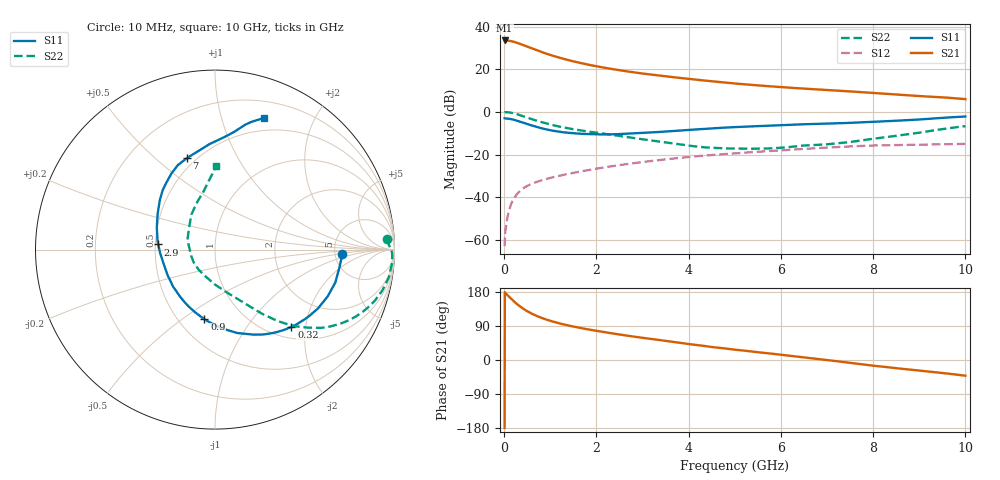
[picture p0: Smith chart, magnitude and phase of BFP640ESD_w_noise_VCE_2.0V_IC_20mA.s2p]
! Infineon Technologies  Discrete & RF Semiconductors
! BFP640ESD
! VCE =  2.0 V,  IC =  20 mA
! Common Emitter S-Parameters:  Jan 2016
# GHz  S  MA  R  50
!  f  S11  S21  S12  S22
! GHz  MAG  ANG  MAG  ANG  MAG  ANG  MAG  ANG
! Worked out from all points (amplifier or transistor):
!   233 points, 10 MHz to 10 GHz, reference 50 ohm
!   highest |S21| = 33.6 dB at 10 MHz (marker M1)
!   |S21| within 3 dB of that: start of sweep to 513.1 MHz
!   unconditionally stable (mu >= 1): 3.198 GHz to 7.919 GHz; 8.076 GHz to 8.804 GHz
!   at 200 MHz: K = 0.18, MSG = 37.1 dB, |S12| = -41.1 dB
!   at 1.74 GHz: K = 0.88, MSG = 25.1 dB, |S12| = -27.7 dB
!   at 10 GHz: K = 0.90, MSG = 10.5 dB, |S12| = -15.0 dB
!   lowest NFmin = 0.89 dB at 450 MHz
!   S11 on the Smith chart (normalised r, x): 10 MHz: 5.84, -0.52; 320 MHz: 1.23, -1.67; 900 MHz: 0.66, -0.61; 2.9 GHz: 0.52, +0.03; 7 GHz: 0.45, +0.64; 10 GHz: 0.36, +1.38
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0.01  0.7095 -1.8  47.97 -179.4  0.0007 119.0  0.9579 3.5
0.02  0.707 -3.4  47.77 177.9  0.0013 93.8  0.9869 -1.0
0.05  0.7009 -7.8  47.61 173.7  0.0024 86.5  0.9898 -4.2
0.1  0.695 -15.3  47.33 167.8  0.0046 83.0  0.9807 -9.0
0.155  0.6775 -23.3  46.13 161.1  0.007 79.1  0.9578 -14.0
0.24  0.6426 -35.0  43.51 151.6  0.0103 74.1  0.9096 -20.9
0.32  0.6052 -45.3  40.81 143.6  0.0131 70.4  0.8569 -26.5
0.4  0.5678 -54.8  37.91 136.4  0.0156 67.2  0.8021 -31.3
0.45  0.5449 -60.2  36.12 132.5  0.017 65.7  0.7691 -33.9
0.6  0.4816 -74.9  31.19 122.1  0.0205 62.3  0.6765 -40.0
0.74  0.4331 -86.5  27.35 114.6  0.0234 60.3  0.6072 -44.2
0.9  0.3927 -98.7  23.77 107.2  0.0263 58.9  0.5419 -48.0
1.22  0.3403 -119.1  18.59 96.0  0.032 57.9  0.4477 -53.4
1.68  0.3064 -141.9  13.98 83.9  0.0403 57.0  0.3653 -59.0
2.2  0.2969 -162.6  10.83 72.9  0.0503 55.3  0.3044 -65.2
2.9  0.3176 174.8  8.283 60.3  0.0644 51.5  0.2357 -77.1
3.4  0.3408 161.6  7.084 52.1  0.0748 47.8  0.199 -88.2
5.1  0.4455 130.1  4.572 26.1  0.1085 33.1  0.1375 -151.6
6.8  0.5245 109.8  3.378 2.8  0.1414 17.4  0.1686 153.4
7  0.533 107.2  3.281 -0.2  0.1456 15.5  0.1739 148.9
8.4  0.6143 87.6  2.602 -20.3  0.1659 -0.6  0.2662 114.5
10  0.7825 69.6  2.003 -41.4  0.1777 -16.1  0.4649 89.2
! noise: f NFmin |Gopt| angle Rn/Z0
0.45  0.89  0.04  -158  0.09
0.9  0.89  0.06  -160  0.09
1.9  0.91  0.11  -131  0.1
2.4  0.93  0.12  -127  0.11
5.5  1.18  0.36  -111  0.14
10  1.75  0.58  -76  0.7
